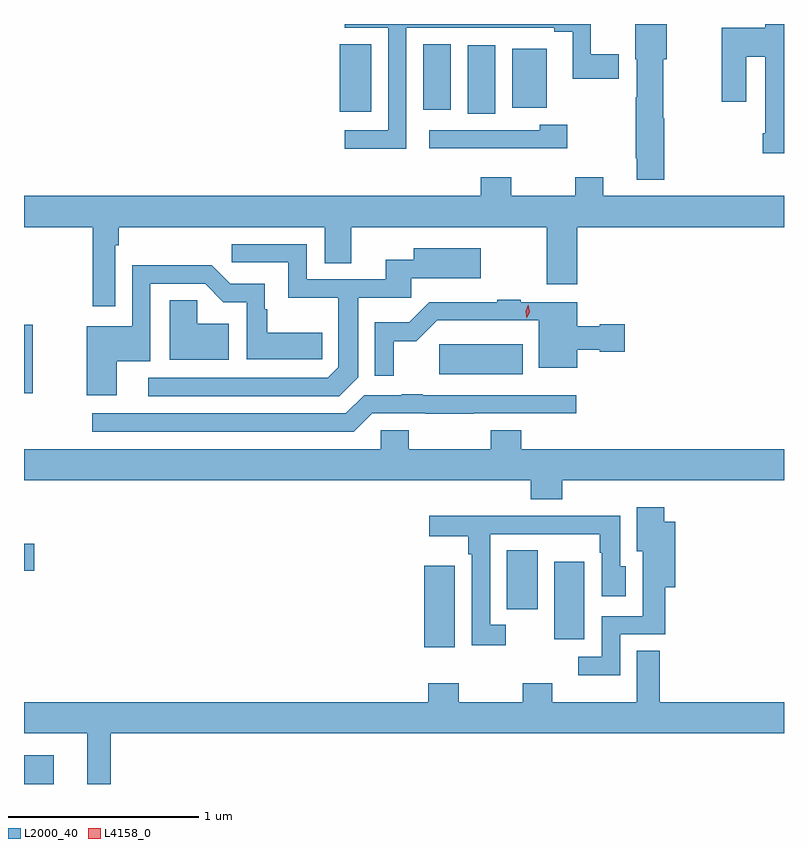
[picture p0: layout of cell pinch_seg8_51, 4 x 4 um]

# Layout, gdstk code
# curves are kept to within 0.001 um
import gdstk
lib = gdstk.Library(unit=1e-6, precision=1e-09)
def R(c, l, rs):  # rectangles x0, y0, x1, y1
    for r in rs: c.add(gdstk.rectangle(r[:2], r[2:], *l))
def P(c, l, *ps):  # polygons
    for p in ps: c.add(gdstk.Polygon(p, *l))
L2000_40 = (2000, 40)
L4158_0 = (4158, 0)

pinch_seg8_51 = lib.new_cell('pinch_seg8_51')
R(pinch_seg8_51, L2000_40, [(868.087,1134.881,868.243,1135.033), (870.194,1135.602,870.355,1136.029), (870.878,1135.644,871.036,1136.05), (870.629,1135.8,870.79,1136.111), (868.087,1136.003,868.141,1136.145), (868.087,1136.938,868.132,1137.298), (870.273,1137.038,870.712,1137.196), (870.422,1138.408,870.568,1138.768), (869.75,1138.419,869.914,1138.775), (870.188,1138.431,870.334,1138.775), (870.656,1138.439,870.838,1138.75)])
P(pinch_seg8_51, L2000_40, [(870.099,1138.86),(870.878,1138.86),(870.878,1138.84),(870.974,1138.84),(870.974,1138.592),(871.216,1138.592),(871.216,1138.723),(871.071,1138.723),(871.071,1138.881),(869.775,1138.881),(869.775,1138.86),(870.003,1138.86),(870.003,1138.323),(869.775,1138.323),(869.775,1138.225),(870.099,1138.225)],
  [(872.087,1138.881),(871.988,1138.881),(871.988,1138.861),(871.759,1138.861),(871.759,1138.473),(871.888,1138.473),(871.888,1138.709),(871.988,1138.709),(871.988,1138.306),(871.976,1138.306),(871.976,1138.201),(872.087,1138.201)],
  [(871.457,1138.385),(871.452,1138.385),(871.452,1138.695),(871.47,1138.695),(871.47,1138.881),(871.304,1138.881),(871.304,1138.695),(871.313,1138.695),(871.313,1138.495),(871.306,1138.495),(871.306,1138.174),(871.313,1138.174),(871.313,1138.062),(871.457,1138.062)],
  [(870.946,1138.351),(870.801,1138.351),(870.801,1138.323),(870.219,1138.323),(870.219,1138.226),(870.946,1138.226)],
  [(868.087,1137.812),(868.449,1137.812),(868.449,1137.396),(868.567,1137.396),(868.567,1137.716),(868.585,1137.716),(868.585,1137.812),(869.669,1137.812),(869.669,1137.622),(869.809,1137.622),(869.809,1137.812),(870.838,1137.812),(870.838,1137.51),(870.998,1137.51),(870.998,1137.812),(872.087,1137.812),(872.087,1137.976),(871.135,1137.976),(871.135,1138.075),(870.988,1138.075),(870.988,1137.976),(870.651,1137.976),(870.651,1138.075),(870.491,1138.075),(870.491,1137.976),(868.087,1137.976)],
  [(869.845,1137.022),(869.845,1137.441),(870.124,1137.441),(870.124,1137.542),(870.49,1137.542),(870.49,1137.7),(870.137,1137.7),(870.137,1137.64),(869.99,1137.64),(869.99,1137.537),(869.574,1137.537),(869.574,1137.723),(869.181,1137.723),(869.181,1137.628),(869.478,1137.628),(869.478,1137.44),(869.742,1137.44),(869.742,1137.075),(869.685,1137.018),(868.74,1137.018),(868.74,1136.922),(869.745,1136.922)],
  [(868.576,1137.107),(868.752,1137.107),(868.752,1137.513),(869.04,1137.513),(869.136,1137.417),(869.259,1137.417),(869.259,1137.116),(869.656,1137.117),(869.656,1137.256),(869.368,1137.256),(869.368,1137.381),(869.355,1137.381),(869.355,1137.513),(869.172,1137.513),(869.075,1137.611),(868.656,1137.611),(868.656,1137.289),(868.418,1137.289),(868.418,1136.927),(868.576,1136.927)],
  [(870.033,1137.211),(870.151,1137.211),(870.261,1137.321),(870.797,1137.321),(870.797,1137.071),(871,1137.071),(871,1137.167),(871.116,1137.167),(871.116,1137.155),(871.249,1137.155),(871.249,1137.302),(871.116,1137.302),(871.116,1137.289),(871,1137.289),(871,1137.417),(870.701,1137.417),(870.701,1137.43),(870.577,1137.43),(870.577,1137.417),(870.219,1137.417),(870.114,1137.312),(869.934,1137.312),(869.934,1137.03),(870.033,1137.03)],
  [(869.164,1137.304),(869,1137.304),(869,1137.427),(868.853,1137.427),(868.853,1137.113),(869.164,1137.113)],
  [(869.919,1136.832),(870.994,1136.832),(870.994,1136.928),(870.185,1136.928),(870.185,1136.933),(870.074,1136.933),(870.074,1136.928),(869.877,1136.928),(869.781,1136.832),(868.446,1136.832),(868.446,1136.736),(869.823,1136.736)],
  [(870.92,1136.48),(872.087,1136.48),(872.087,1136.644),(870.704,1136.644),(870.704,1136.743),(870.544,1136.743),(870.544,1136.644),(870.111,1136.644),(870.111,1136.742),(869.964,1136.742),(869.964,1136.644),(868.087,1136.644),(868.087,1136.48),(870.755,1136.48),(870.755,1136.381),(870.92,1136.381)],
  [(871.224,1135.668),(871.462,1135.668),(871.462,1135.916),(871.514,1135.916),(871.514,1136.26),(871.457,1136.26),(871.457,1136.338),(871.313,1136.338),(871.313,1136.105),(871.343,1136.105),(871.343,1135.764),(871.128,1135.764),(871.128,1135.551),(871.005,1135.551),(871.005,1135.454),(871.224,1135.454)],
  [(870.622,1135.719),(870.54,1135.719),(870.54,1136.196),(870.886,1136.196),(870.886,1136.195),(871.116,1136.195),(871.116,1136.099),(871.128,1136.099),(871.128,1135.869),(871.255,1135.869),(871.255,1136.028),(871.224,1136.028),(871.224,1136.294),(871.003,1136.294),(871.003,1136.292),(870.637,1136.292),(870.637,1136.294),(870.219,1136.294),(870.219,1136.186),(870.424,1136.186),(870.424,1136.09),(870.444,1136.09),(870.444,1135.611),(870.622,1135.611)],
  [(868.543,1135.148),(872.087,1135.148),(872.087,1135.312),(871.432,1135.312),(871.432,1135.583),(871.313,1135.583),(871.313,1135.312),(870.867,1135.312),(870.867,1135.411),(870.712,1135.411),(870.712,1135.312),(870.375,1135.312),(870.375,1135.411),(870.215,1135.411),(870.215,1135.312),(868.087,1135.312),(868.087,1135.148),(868.421,1135.148),(868.421,1134.881),(868.543,1134.881)])
P(pinch_seg8_51, L4158_0, [(870.734,1137.332),(870.734,1137.332),(870.728,1137.368),(870.741,1137.403),(870.741,1137.403),(870.741,1137.403),(870.748,1137.367),(870.734,1137.332)])

lib.write_gds('pinch_seg8_51.gds')
